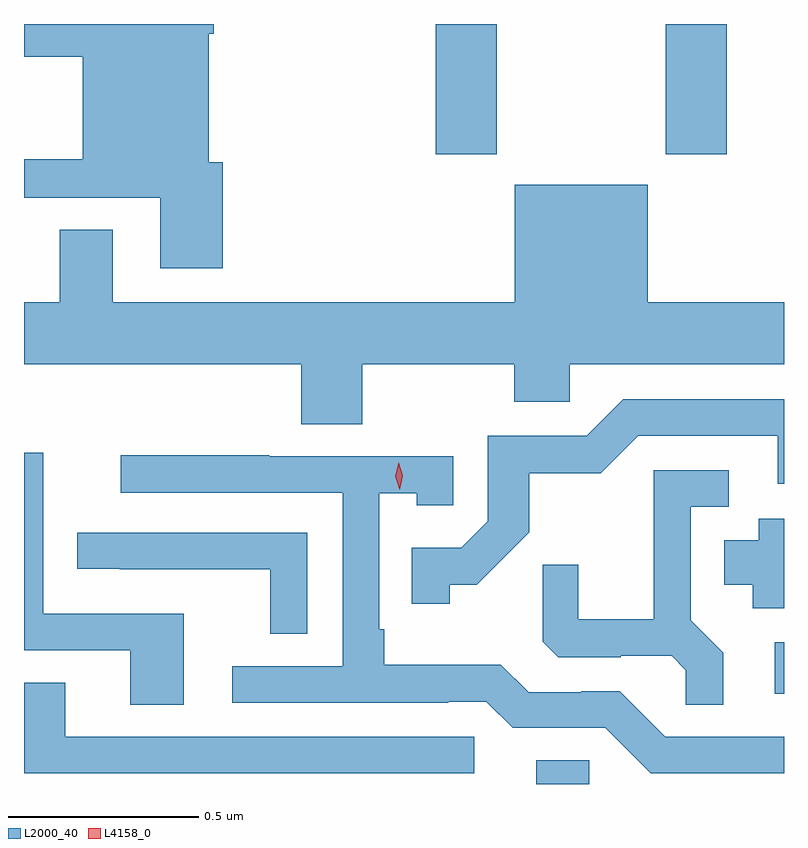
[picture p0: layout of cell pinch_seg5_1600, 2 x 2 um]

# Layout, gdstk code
import gdstk
lib = gdstk.Library(unit=1e-6, precision=1e-09)
def R(c, l, rs):  # rectangles x0, y0, x1, y1
    for r in rs: c.add(gdstk.rectangle(r[:2], r[2:], *l))
def P(c, l, *ps):  # polygons
    for p in ps: c.add(gdstk.Polygon(p, *l))
L2000_40 = (2000, 40)
L4158_0 = (4158, 0)

pinch_seg5_1600 = lib.new_cell('pinch_seg5_1600')
R(pinch_seg5_1600, L2000_40, [(331.253,866.312,331.392,866.375), (331.881,866.549,331.905,866.685), (330.989,867.969,331.149,868.312), (331.594,867.969,331.754,868.312)])
P(pinch_seg5_1600, L2000_40, [(330.428,867.948),(330.391,867.948),(330.391,868.286),(330.404,868.286),(330.404,868.312),(329.905,868.312),(329.905,868.226),(330.059,868.226),(330.059,867.956),(329.905,867.956),(329.905,867.855),(330.263,867.855),(330.263,867.669),(330.428,867.669)],
  [(330.795,867.416),(331.195,867.416),(331.195,867.318),(331.341,867.318),(331.341,867.416),(331.905,867.416),(331.905,867.58),(331.546,867.58),(331.546,867.889),(331.196,867.889),(331.196,867.58),(330.139,867.58),(330.139,867.77),(329.999,867.77),(329.999,867.58),(329.905,867.58),(329.905,867.416),(330.635,867.416),(330.635,867.259),(330.795,867.259)],
  [(331.026,866.837),(331.096,866.837),(331.234,866.974),(331.234,867.13),(331.423,867.13),(331.521,867.228),(331.889,867.228),(331.889,867.102),(331.905,867.102),(331.905,867.324),(331.482,867.324),(331.386,867.228),(331.125,867.228),(331.125,867.003),(331.056,866.934),(330.925,866.934),(330.925,866.787),(331.026,866.787)],
  [(330.325,866.76),(329.955,866.76),(329.955,867.184),(329.905,867.184),(329.905,866.664),(330.185,866.664),(330.185,866.521),(330.325,866.521)],
  [(331.905,866.436),(331.593,866.436),(331.473,866.556),(331.372,866.556),(331.372,866.553),(331.233,866.553),(331.16,866.626),(330.853,866.626),(330.853,866.719),(330.84,866.719),(330.84,867.077),(330.939,867.077),(330.939,867.045),(331.035,867.045),(331.035,867.174),(330.551,867.174),(330.551,867.177),(330.159,867.177),(330.159,867.078),(330.744,867.078),(330.744,866.622),(330.453,866.622),(330.453,866.526),(331.022,866.526),(331.022,866.529),(331.122,866.529),(331.191,866.46),(331.434,866.46),(331.554,866.34),(331.905,866.34)],
  [(331.745,866.657),(331.659,866.743),(331.659,867.042),(331.759,867.042),(331.759,867.138),(331.562,867.138),(331.562,866.746),(331.364,866.746),(331.364,866.889),(331.27,866.889),(331.27,866.687),(331.311,866.646),(331.476,866.646),(331.476,866.649),(331.61,866.649),(331.647,866.612),(331.647,866.521),(331.745,866.521)],
  [(331.905,867.01),(331.838,867.01),(331.838,866.953),(331.748,866.953),(331.748,866.837),(331.823,866.837),(331.823,866.774),(331.905,866.774)],
  [(330.651,866.973),(330.045,866.973),(330.045,866.878),(330.157,866.878),(330.157,866.877),(330.553,866.877),(330.553,866.707),(330.651,866.707)],
  [(331.09,866.436),(330.013,866.436),(330.013,866.579),(329.905,866.579),(329.905,866.34),(331.09,866.34)])
P(pinch_seg5_1600, L4158_0, [(330.894,867.087),(330.894,867.087),(330.882,867.122),(330.891,867.158),(330.891,867.159),(330.891,867.158),(330.902,867.123),(330.894,867.087)])

lib.write_gds('pinch_seg5_1600.gds')
